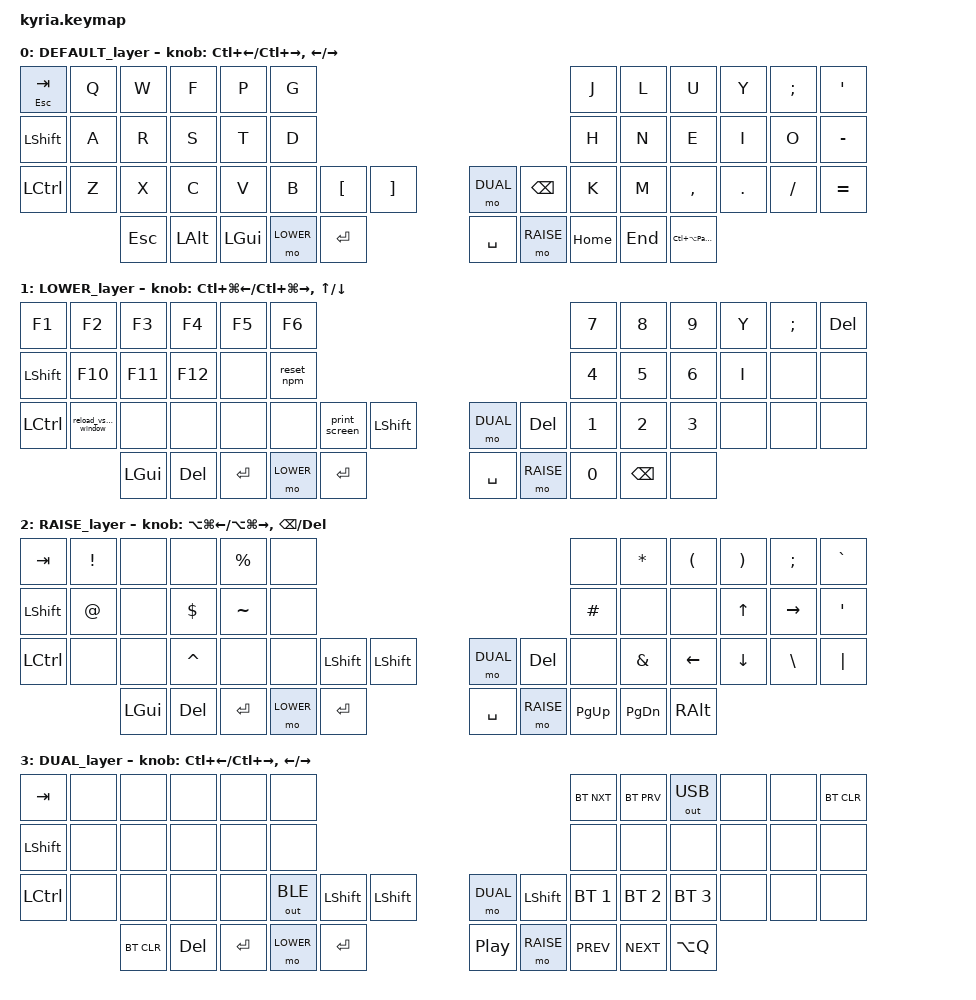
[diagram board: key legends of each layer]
/*
 * Copyright (c) 2020 The ZMK Contributors
 *
 * SPDX-License-Identifier: MIT
 */

#include <behaviors.dtsi>
#include <dt-bindings/zmk/keys.h>
#include <dt-bindings/zmk/bt.h>
#include <dt-bindings/zmk/outputs.h>

#define DEFAULT 0
#define LOWER 1
#define RAISE 2
#define DUAL 3

/ {
    combos {
        compatible = "zmk,combos";
			combo_esc {
				timeout-ms = <50>;
				key-positions = <44 47>;
				bindings = <&mo DUAL>;
        	};
   		};
	};

/ {
    macros {
        reload_vscode_window: reload_vscode_window {
            compatible = "zmk,behavior-macro";
            #binding-cells = <0>;
            bindings
                = <&macro_press &kp LGUI>
                , <&macro_tap &kp P>
                , <&macro_release &kp LGUI>
				, <&macro_press &kp LSHIFT>
                , <&macro_tap &kp DOT>
                , <&macro_release &kp LSHIFT>
				, <&macro_tap &kp R &kp E &kp L &kp O &kp RET>
                ;
        };

		reset_npm: reset_npm {
            compatible = "zmk,behavior-macro";
            #binding-cells = <0>;
            bindings
                = <&macro_press &kp LCTRL>
                , <&macro_tap &kp C>
                , <&macro_release &kp LCTRL>
				, <&macro_tap &kp UP>
                , <&macro_tap &kp RET>
                ;
        };

		print_screen: print_screen {
            compatible = "zmk,behavior-macro";
            #binding-cells = <0>;
            bindings
                = <&macro_press &kp LGUI>
                , <&macro_press &kp LSHIFT>
                , <&macro_press &kp N4>
                , <&macro_release &kp LGUI>
                , <&macro_release &kp LSHIFT>
                ;
        };
    };
};

// ---------------------------------------------------------------------------------------------------------------------------------
// |  ESC  |  Q  |  W  |  E   |  R   |  T   |                                          |  Y   |  U    |  I    |  O   |   P   |   \  |
// |  TAB  |  A  |  S  |  D   |  F   |  G   |                                          |  H   |  J    |  K    |  L   |   ;   |   '  |
// | SHIFT |  Z  |  X  |  C   |  V   |  B   | L SHIFT | L SHIFT |  | L SHIFT | L SHIFT |  N   |  M    |  ,    |  .   |   /   | CTRL |
//                     | GUI  | DEL  | RET  |  SPACE  | RETURN  |  |   SPACE   |  SPACE  | TAB  | BSPC  | R-ALT |

&mt {
    tapping-term-ms = <200>;
};

&sensors {
	left_config {
        triggers-per-rotation = <10>;
    };

    right_config {
    	triggers-per-rotation = <15>;
    };
};

&left_encoder {
	steps = <80>;
};

&right_encoder {
	steps = <30>;
};


/ {
	 behaviors {
		td_mt: tap_dance_mod_tap {
            compatible = "zmk,behavior-tap-dance";
            #binding-cells = <0>;
            tapping-term-ms = <200>;
            bindings = <&kt LA(TAB)>, <&kp TAB>;
        };
        plswork: plswork {
            compatible = "zmk,behavior-sensor-rotate";
            #sensor-binding-cells = <0>;
            bindings = <&td_mt>, <&td_mt>;
        };
    };

	keymap {
		compatible = "zmk,keymap";

		DEFAULT_layer {
			bindings = <
	&mt ESC TAB &kp Q &kp W &kp F &kp P &kp G                                              &kp J &kp L  &kp U     &kp Y   &kp SEMI &kp SQT
	&kp LSHFT   &kp A &kp R &kp S &kp T &kp D                                              &kp H &kp N  &kp E     &kp I   &kp O	   &kp MINUS
	&kp LCTRL   &kp Z &kp X &kp C &kp V &kp B &kp LBKT &kp RBKT          &mo DUAL &kp BSPC &kp K &kp M  &kp COMMA &kp DOT &kp FSLH &kp EQUAL
	                &kp ESC &kp LALT &kp LGUI &mo LOWER &kp RET        &kp SPACE &mo RAISE &kp HOME &kp END &kp LC(LA(PAUSE_BREAK))
			>;

			 sensor-bindings = <&inc_dec_kp LC(LEFT) LC(RIGHT) &inc_dec_kp LEFT RIGHT>;
		};

		LOWER_layer {
			bindings = <
	&kp F1    &kp F2  &kp F3  &kp F4  &kp F5 &kp F6                                            &kp N7 &kp N8  &kp N9 &kp Y &kp SEMI &kp DEL
	&kp LSHFT &kp F10 &kp F11 &kp F12 &none  &reset_npm                                             &kp N4 &kp N5  &kp N6 &kp I &none    &none
	&kp LCTRL &reload_vscode_window   &none   &none   &none  &none &print_screen &kp LSHFT        &mo DUAL &kp DEL &kp N1 &kp N2  &kp N3 &none &none    &none
	                  &kp LGUI &kp DEL &kp RET &mo LOWER &kp RET        &kp SPACE &mo RAISE  &kp N0 &kp BSPC  &none
			>;

			sensor-bindings = <&inc_dec_kp LC(LG(LEFT)) LC(LG(RIGHT)) &inc_dec_kp UP DOWN>;
		};

		RAISE_layer {
			bindings = <
	&kp TAB   &kp EXCL &none &none &kp PRCNT &none                                              &none &kp STAR &kp LPAR &kp RPAR &kp SEMI  &kp GRAVE
	&kp LSHFT &kp AT   &none &kp DLLR &kp TILDE &none                                              &kp HASH &none  &none  &kp UP   &kp RIGHT &kp SQT
	&kp LCTRL &none    &none &kp CARET &none &none &kp LSHFT &kp LSHFT         &mo DUAL &kp DEL &none &kp AMPS &kp LEFT &kp DOWN &kp BSLH  &kp PIPE
	                   &kp LGUI &kp DEL &kp RET &mo LOWER &kp RET        &kp SPACE &mo RAISE &kp PG_UP &kp PG_DN &kp RALT
			>;

			sensor-bindings = < &inc_dec_kp LA(LG(LEFT)) LA(LG(RIGHT)) &inc_dec_kp BSPC DEL>;
		};

		DUAL_layer {
			bindings = <
	&kp TAB   &none &none &none &none &none                                                		  &bt BT_NXT &bt BT_PRV &out OUT_USB &none &none &bt BT_CLR
	&kp LSHFT &none &none &none &none &none                                                		  &none 	 &none &none &none &none &none
	&kp LCTRL &none &none &none &none &out OUT_BLE &kp LSHFT &kp LSHFT         &mo DUAL &kp LSHFT &bt BT_SEL 1 &bt BT_SEL 2 &bt BT_SEL 3 &none &none &none
	                 &bt BT_CLR &kp DEL &kp RET &mo LOWER &kp RET        &kp C_PP &mo RAISE &kp C_PREV &kp C_NEXT &kp LA(Q)
			>;

			sensor-bindings = <&inc_dec_kp LC(LEFT) LC(RIGHT) &inc_dec_kp LEFT RIGHT>;
		};
	};

	
};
